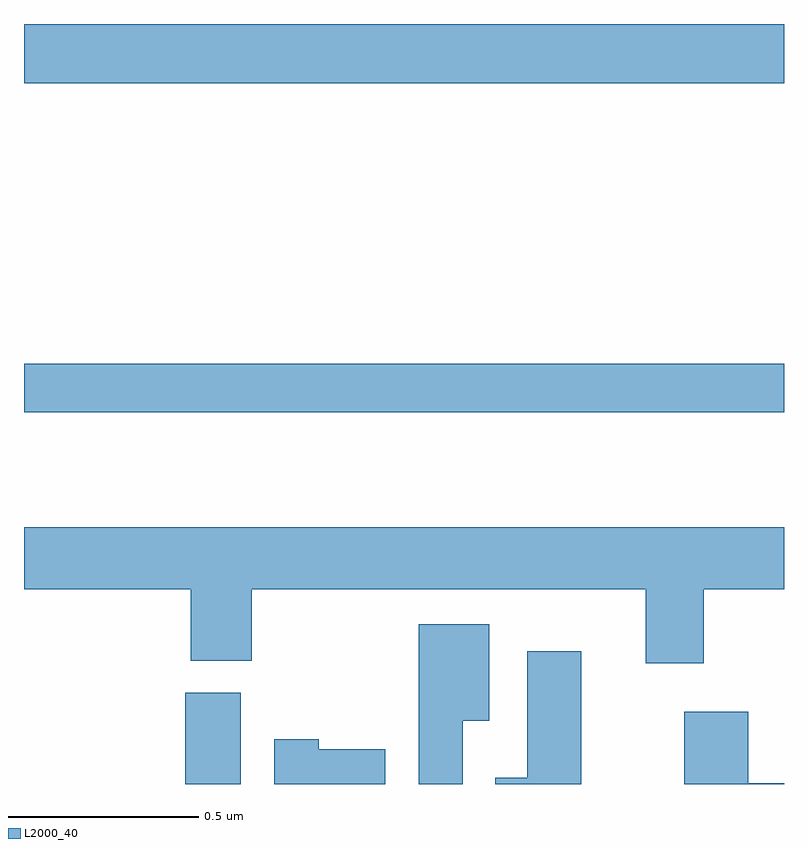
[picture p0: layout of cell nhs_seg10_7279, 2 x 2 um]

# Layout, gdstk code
import gdstk
lib = gdstk.Library(unit=1e-6, precision=1e-09)
def R(c, l, rs):  # rectangles x0, y0, x1, y1
    for r in rs: c.add(gdstk.rectangle(r[:2], r[2:], *l))
def P(c, l, *ps):  # polygons
    for p in ps: c.add(gdstk.Polygon(p, *l))
L2000_40 = (2000, 40)

nhs_seg10_7279 = lib.new_cell('nhs_seg10_7279')
R(nhs_seg10_7279, L2000_40, [(202.424,1270.5,202.57,1270.74), (202,1271.478,204,1271.606), (202,1272.344,204,1272.5)])
P(nhs_seg10_7279, L2000_40, [(203.789,1271.012),(204,1271.012),(204,1271.176),(202,1271.176),(202,1271.012),(202.439,1271.012),(202.439,1270.825),(202.599,1270.825),(202.599,1271.012),(203.636,1271.012),(203.636,1270.818),(203.789,1270.818)],
  [(203.155,1270.667),(203.224,1270.667),(203.224,1270.921),(203.039,1270.921),(203.039,1270.5),(203.155,1270.5)],
  [(203.467,1270.849),(203.324,1270.849),(203.324,1270.516),(203.24,1270.516),(203.24,1270.5),(203.467,1270.5)],
  [(204,1270.502),(203.906,1270.502),(203.906,1270.69),(203.738,1270.69),(203.738,1270.5),(204,1270.5)],
  [(202.951,1270.591),(202.776,1270.591),(202.776,1270.618),(202.658,1270.618),(202.658,1270.5),(202.951,1270.5)])

lib.write_gds('nhs_seg10_7279.gds')
